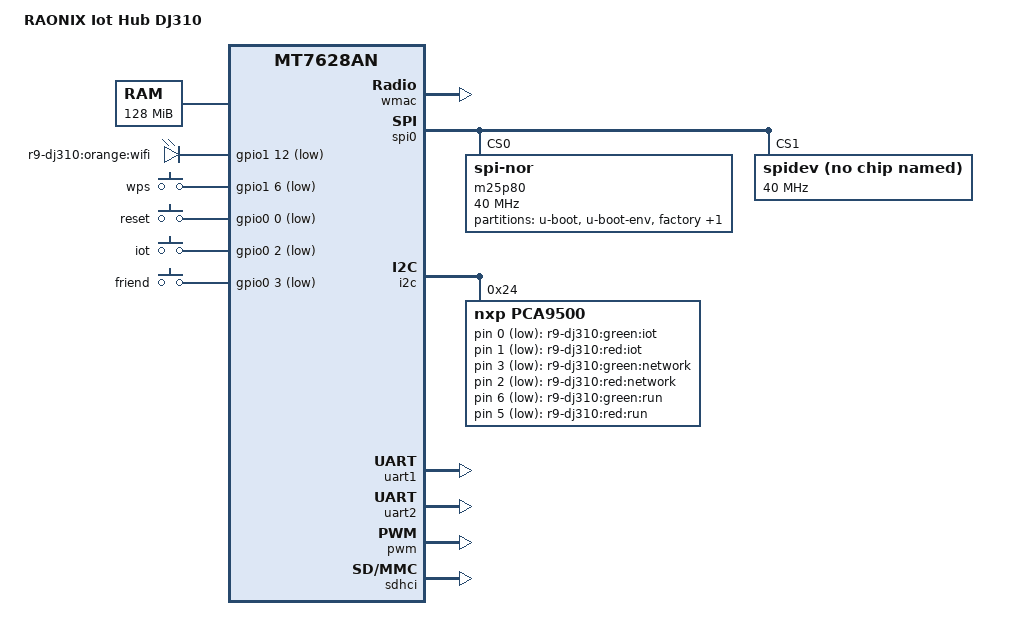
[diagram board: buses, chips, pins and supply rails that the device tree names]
/dts-v1/;

#include "mt7628an.dtsi"

#include <dt-bindings/gpio/gpio.h>
#include <dt-bindings/input/input.h>

/ {
	compatible = "raonix,dj310", "mediatek,mt7628an-soc";
	model = "RAONIX Iot Hub DJ310";

	chosen {
		bootargs = "console=ttyS2,57600";
	};

	aliases {
		serial0 = &uart2;
	};

	memory@0 {
		device_type = "memory";
		reg = <0x0 0x8000000>;
	};

	bootstrap {
		compatible = "raonix,dj310";

		status = "okay";
	};

	gpio-leds {
		compatible = "gpio-leds";
		wifi {
			label = "r9-dj310:orange:wifi";
			gpios = <&gpio1 12 GPIO_ACTIVE_LOW>;
		};
		iot-green {
			label = "r9-dj310:green:iot";
			gpios = <&pca9500 0 GPIO_ACTIVE_LOW>;
			default-state = "on";
		};
		iot-red {
			label = "r9-dj310:red:iot";
			gpios = <&pca9500 1 GPIO_ACTIVE_LOW>;
			default-state = "off";
		};
		network-green {
			label = "r9-dj310:green:network";
			gpios = <&pca9500 3 GPIO_ACTIVE_LOW>;
			default-state = "on";
		};
		network-red {
			label = "r9-dj310:red:network";
			gpios = <&pca9500 2 GPIO_ACTIVE_LOW>;
			default-state = "off";
		};
		run-green {
			label = "r9-dj310:green:run";
			gpios = <&pca9500 6 GPIO_ACTIVE_LOW>;
			default-state = "on";
		};
		run-red {
			label = "r9-dj310:red:run";
			gpios = <&pca9500 5 GPIO_ACTIVE_LOW>;
			default-state = "off";
		};
	};

	gpio-keys-polled {
		compatible = "gpio-keys-polled";
		#address-cells = <1>;
		#size-cells = <0>;
		poll-interval = <50>;

		wps {
			label = "wps";
			gpios = <&gpio1 6 GPIO_ACTIVE_LOW>;
			linux,code = <KEY_WPS_BUTTON>;
		};
		reset {
			label = "reset";
			gpios = <&gpio0 0 1>;
			linux,code = <0x198>;
		};
		iot {
			label = "iot";
			gpios = <&gpio0 2 GPIO_ACTIVE_LOW>;
			linux,code = <0x100>;
		};
		friend {
			label = "friend";
			gpios = <&gpio0 3 GPIO_ACTIVE_LOW>;
			linux,code = <0x101>;
		};
	};
};

&pinctrl {
	state_default: pinctrl0 {
		gpio {
			ralink,group = "gpio";
			ralink,function = "gpio";
		};
		perst {
			ralink,group = "perst";
			ralink,function = "gpio";
		};
		refclk {
			ralink,group = "refclk";
			ralink,function = "gpio";
		};
		i2s {
			ralink,group = "i2s";
			ralink,function = "gpio";
		};
		spis {
			ralink,group = "spis";
			ralink,function = "gpio";
		};
		wled_an {
			ralink,group = "wled_an";
			ralink,function = "gpio";
		};

		wdt {
			ralink,group = "wdt";
			ralink,function = "gpio";
		};
	};
};

&wmac {
	status = "okay";
};

&spi0 {
	status = "okay";

	pinctrl-names = "default";
	pinctrl-0 = <&spi_pins>, <&spi_cs1_pins>;

	m25p80@0 {
		#address-cells = <1>;
		#size-cells = <1>;
		compatible = "jedec,spi-nor";
		reg = <0>;
		spi-max-frequency = <40000000>;
		m25p,chunked-io = <31>;

		partition@0 {
			label = "u-boot";
			reg = <0x0 0x30000>;
			read-only;
		};

		partition@30000 {
			label = "u-boot-env";
			reg = <0x30000 0x10000>;
		};

		factory: partition@40000 {
			label = "factory";
			reg = <0x40000 0x10000>;
		};

		partition@50000 {
			label = "firmware";
			reg = <0x50000 0x1fb0000>;
		};
	};

	spidev@1 {
		#address-cells = <1>;
		#size-cells = <1>;
		compatible = "linux,spidev";
		reg = <1>;
		spi-max-frequency = <40000000>;
	};
};

&i2c {
	status = "okay";

	pca9500: pca9500 {
		compatible = "nxp,pca9500";
		gpio-controller;
		#gpio-cells = <2>;
		reg = <0x24>;
	};
};

&uart1 {
	status = "okay";
};

&uart2 {
	status = "okay";
};

&pwm {
	status = "okay";
};

&ethernet {
	mtd-mac-address = <&factory 0x28>;
};

&sdhci {
	status = "okay";
	mediatek,cd-high;
};

&wmac {
	status = "okay";
};
